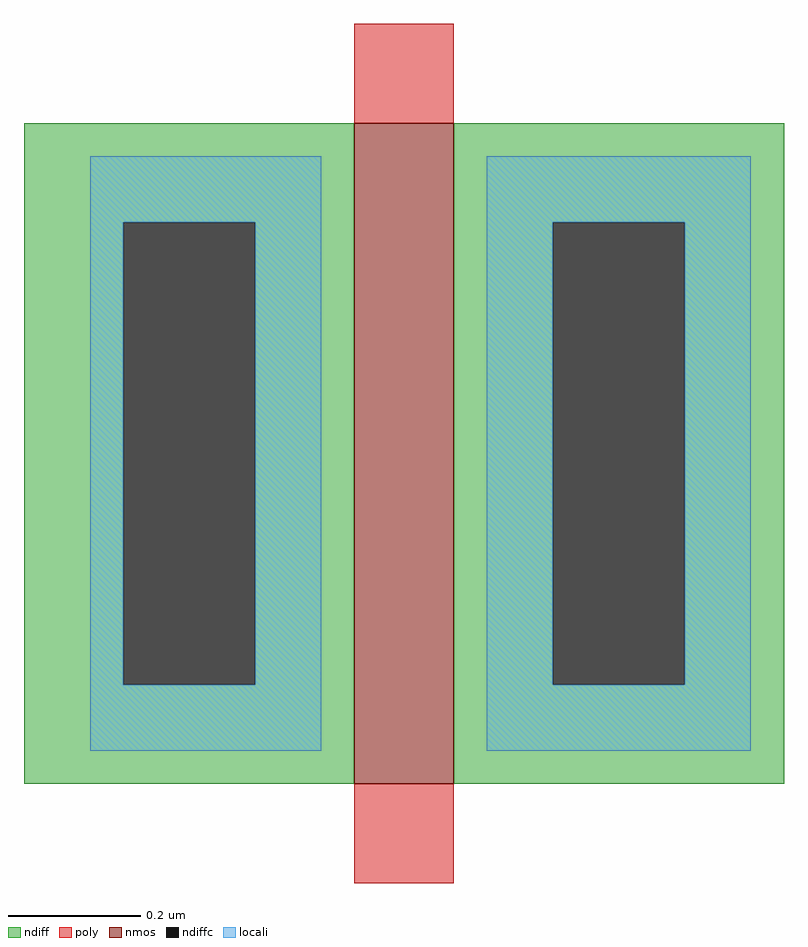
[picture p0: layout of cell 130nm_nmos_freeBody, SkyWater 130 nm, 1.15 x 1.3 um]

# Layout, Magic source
magic
tech sky130A
<< nmos >>
rect -20 0 -5 100
<< ndiff >>
rect -70 85 -20 100
rect -70 15 -55 85
rect -35 15 -20 85
rect -70 0 -20 15
rect -5 85 45 100
rect -5 15 10 85
rect 30 15 45 85
rect -5 0 45 15
<< ndiffc >>
rect -55 15 -35 85
rect 10 15 30 85
<< poly >>
rect -20 100 -5 115
rect -20 -15 -5 0
<< locali >>
rect -60 85 -25 95
rect -60 15 -55 85
rect -35 15 -25 85
rect -60 5 -25 15
rect 0 85 40 95
rect 0 15 10 85
rect 30 15 40 85
rect 0 5 40 15
<< end >>
